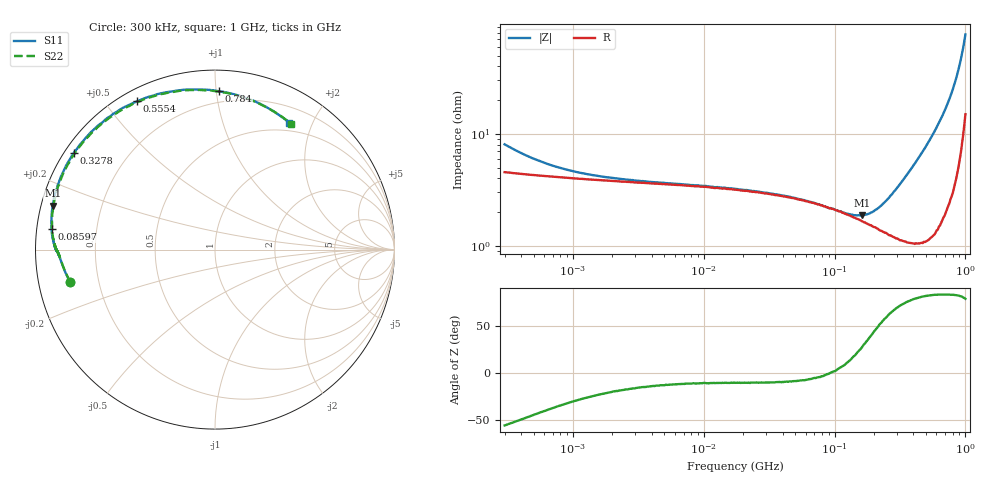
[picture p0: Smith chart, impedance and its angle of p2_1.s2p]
#  HZ  S  RI  R  50
! Rohde & Schwarz ZVA/B
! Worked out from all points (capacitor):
!   401 points, 300 kHz to 1 GHz, reference 50 ohm
!   read as one part in shunt: C = 77.8 nF near 312.4 kHz
!   lowest |Z| = 1.87 ohm at 161.2 MHz (marker M1)
!   series resonance near 92.21 MHz, so ESL is about 38 pH
!   S11 on the Smith chart (normalised r, x): 300 kHz: 0.10, -0.11; 85.97 MHz: 0.04, +0.06; 327.8 MHz: 0.03, +0.31; 555.4 MHz: 0.05, +0.60; 784 MHz: 0.13, +1.02; 1 GHz: 0.39, +1.68
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300000  -0.8081 -0.179  0.1947 -0.1822  0.1956 -0.1827  -0.8065 -0.1784
597813.8  -0.8438 -0.1021  0.1567 -0.1039  0.1568 -0.1042  -0.8428 -0.1024
1167356  -0.8594 -0.0594  0.1412 -0.0612  0.141 -0.0614  -0.8586 -0.0594
4542403  -0.8744 -0.0205  0.1257 -0.0268  0.126 -0.0268  -0.8741 -0.0186
1.732051e7  -0.8867 0.00468  0.1125 -0.021  0.1122 -0.0207  -0.8859 0.00594
3.743123e7  -0.8988 0.0342  0.1007 -0.0207  0.1004 -0.0207  -0.8963 0.0364
6.739735e7  -0.9067 0.0795  0.087 -0.0167  0.087 -0.0167  -0.9047 0.085
8.596649e7  -0.9094 0.1128  0.0802 -0.0122  0.0806 -0.0123  -0.9072 0.116
1.289654e8  -0.9108 0.1866  0.0705 0.00183  0.0706 0.00165  -0.9071 0.1923
1.611953e8  -0.9038 0.2453  0.0671 0.0143  0.0675 0.0143  -0.8992 0.2524
2.014798e8  -0.8877 0.319  0.0682 0.0319  0.0679 0.0318  -0.8811 0.3259
2.622557e8  -0.8486 0.4279  0.0786 0.0577  0.0791 0.0569  -0.8399 0.436
3.277964e8  -0.7869 0.5386  0.1022 0.0817  0.1018 0.0815  -0.7747 0.5473
3.777936e8  -0.7245 0.6174  0.1266 0.0949  0.1264 0.0947  -0.7115 0.6241
4.354165e8  -0.642 0.6989  0.1609 0.1039  0.1611 0.1035  -0.6263 0.7052
4.917542e8  -0.5486 0.7666  0.198 0.1045  0.1986 0.1048  -0.5345 0.77
5.553813e8  -0.4345 0.8262  0.2436 0.0944  0.2438 0.0948  -0.4183 0.827
6.665858e8  -0.2157 0.8853  0.3215 0.0459  0.3217 0.046  -0.1996 0.8843
7.839956e8  0.0224 0.882  0.386 -0.0416  0.3859 -0.0416  0.0374 0.877
8.676601e8  0.1868 0.84  0.4141 -0.125  0.4135 -0.1242  0.1995 0.8324
9.602529e8  0.3515 0.7536  0.4177 -0.2303  0.4175 -0.2303  0.3623 0.7475
1e9  0.4139 0.7075  0.4093 -0.2775  0.41 -0.2777  0.4255 0.7006
